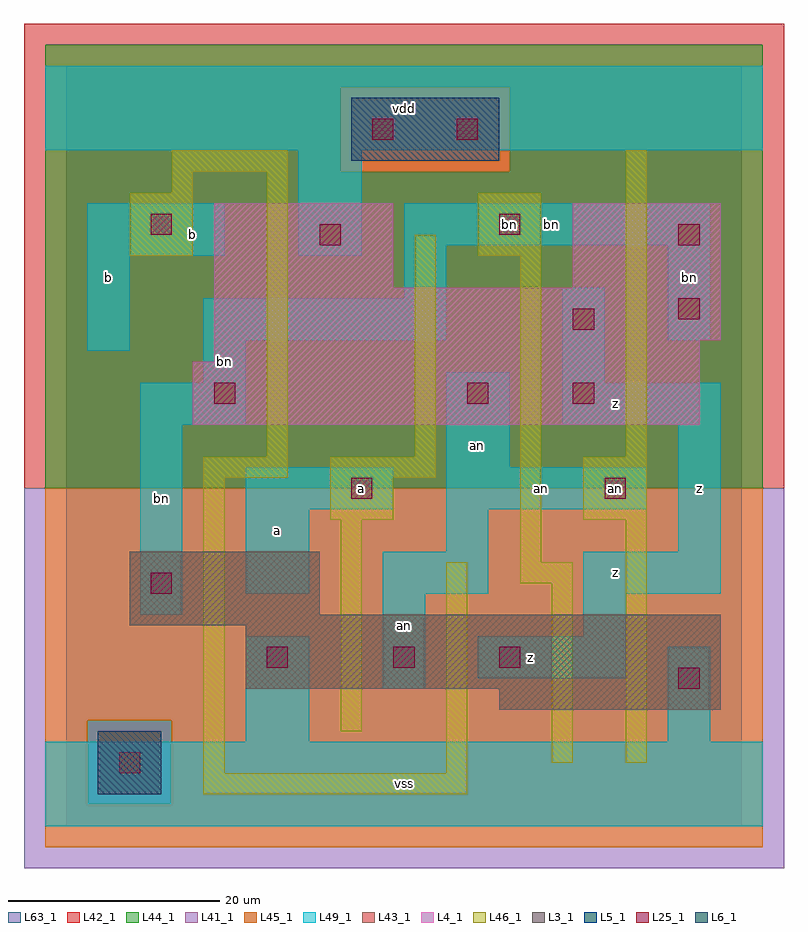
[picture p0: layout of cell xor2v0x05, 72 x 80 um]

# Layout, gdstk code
import gdstk
lib = gdstk.Library(unit=1e-6, precision=1e-09)
def R(c, l, rs):  # rectangles x0, y0, x1, y1
    for r in rs: c.add(gdstk.rectangle(r[:2], r[2:], *l))
L3_1 = (3, 1)
L4_1 = (4, 1)
L5_1 = (5, 1)
L6_1 = (6, 1)
L25_1 = (25, 1)
L41_1 = (41, 1)
L42_1 = (42, 1)
L43_1 = (43, 1)
L44_1 = (44, 1)
L45_1 = (45, 1)
L46_1 = (46, 1)
L49_1 = (49, 1)
L63_1 = (63, 1)

xor2v0x05 = lib.new_cell('xor2v0x05')
R(xor2v0x05, L3_1, [(41,11,62,13), (17,13,62,19), (6,19,62,20), (6,20,24,26)])
R(xor2v0x05, L4_1, [(12,38,60,44), (14,44,60,46), (14,46,62,51), (14,51,31,59), (48,51,62,59)])
R(xor2v0x05, L5_1, [(27,63,41,69)])
R(xor2v0x05, L6_1, [(3,3,9,9), (3,3,9,9)])
R(xor2v0x05, L25_1, [(5,5,7,7), (58,13,60,15), (19,15,21,17), (31,15,33,17), (41,15,43,17), (8,22,10,24), (27,31,29,33), (51,31,53,33), (14,40,16,42), (38,40,40,42), (48,40,50,42), (48,47,50,49), (58,48,60,50), (24,55,26,57), (58,55,60,57), (8,56,10,58), (41,56,43,58), (29,65,31,67), (37,65,39,67)])
R(xor2v0x05, L41_1, [(-4,-4,68,32)])
R(xor2v0x05, L42_1, [(-4,32,68,76)])
R(xor2v0x05, L43_1, [(3,3,9,9), (41,11,62,13), (17,13,62,19), (6,19,62,20), (6,20,24,26), (12,38,60,44), (14,44,60,46), (14,46,62,51), (14,51,31,59), (48,51,62,59), (27,63,41,69)])
R(xor2v0x05, L44_1, [(2,2,10,10), (-2,32,66,62), (-2,62,26,70), (42,62,66,70), (-2,70,66,74)])
R(xor2v0x05, L45_1, [(-2,-2,66,2), (-2,2,2,10), (10,2,66,10), (-2,10,66,32), (26,62,42,70)])
R(xor2v0x05, L46_1, [(13,3,38,5), (13,5,15,33), (36,5,38,25), (46,6,48,23), (53,6,55,29), (26,9,28,29), (43,23,48,25), (43,25,45,54), (25,29,31,33), (49,29,55,35), (13,33,21,35), (25,33,35,35), (19,35,21,62), (33,35,35,56), (53,35,55,64), (6,54,12,60), (39,54,45,60), (10,60,12,62), (10,62,21,64)])
R(xor2v0x05, L49_1, [(-2,0,66,8), (17,8,23,18), (57,8,61,17), (30,13,34,22), (39,14,53,18), (49,18,53,22), (7,20,11,38), (17,22,23,30), (30,22,40,26), (49,22,62,26), (36,26,40,30), (58,26,62,38), (17,30,31,34), (36,30,55,34), (36,34,42,43), (7,38,17,42), (47,38,62,42), (13,42,17,46), (47,42,51,51), (2,45,6,54), (13,46,36,50), (57,46,61,55), (32,50,36,55), (2,54,15,59), (22,54,28,64), (32,55,61,59), (-2,64,66,72)])
R(xor2v0x05, L63_1, [(0,0,64,72)])
xor2v0x05.add(gdstk.Label('an', (52,32), layer=49, texttype=1))
xor2v0x05.add(gdstk.Label('bn', (42,57), layer=49, texttype=1))
xor2v0x05.add(gdstk.Label('bn', (9,31), layer=49, texttype=1))
xor2v0x05.add(gdstk.Label('b', (4,52), layer=49, texttype=1))
xor2v0x05.add(gdstk.Label('b', (12,56), layer=49, texttype=1))
xor2v0x05.add(gdstk.Label('a', (20,28), layer=49, texttype=1))
xor2v0x05.add(gdstk.Label('a', (28,32), layer=49, texttype=1))
xor2v0x05.add(gdstk.Label('bn', (15,44), layer=49, texttype=1))
xor2v0x05.add(gdstk.Label('vss', (32,4), layer=49, texttype=1))
xor2v0x05.add(gdstk.Label('z', (44,16), layer=49, texttype=1))
xor2v0x05.add(gdstk.Label('an', (32,19), layer=49, texttype=1))
xor2v0x05.add(gdstk.Label('an', (39,36), layer=49, texttype=1))
xor2v0x05.add(gdstk.Label('vdd', (32,68), layer=49, texttype=1))
xor2v0x05.add(gdstk.Label('z', (52,24), layer=49, texttype=1))
xor2v0x05.add(gdstk.Label('an', (45,32), layer=49, texttype=1))
xor2v0x05.add(gdstk.Label('z', (60,32), layer=49, texttype=1))
xor2v0x05.add(gdstk.Label('z', (52,40), layer=49, texttype=1))
xor2v0x05.add(gdstk.Label('bn', (59,52), layer=49, texttype=1))
xor2v0x05.add(gdstk.Label('bn', (46,57), layer=49, texttype=1))

lib.write_gds('xor2v0x05.gds')
